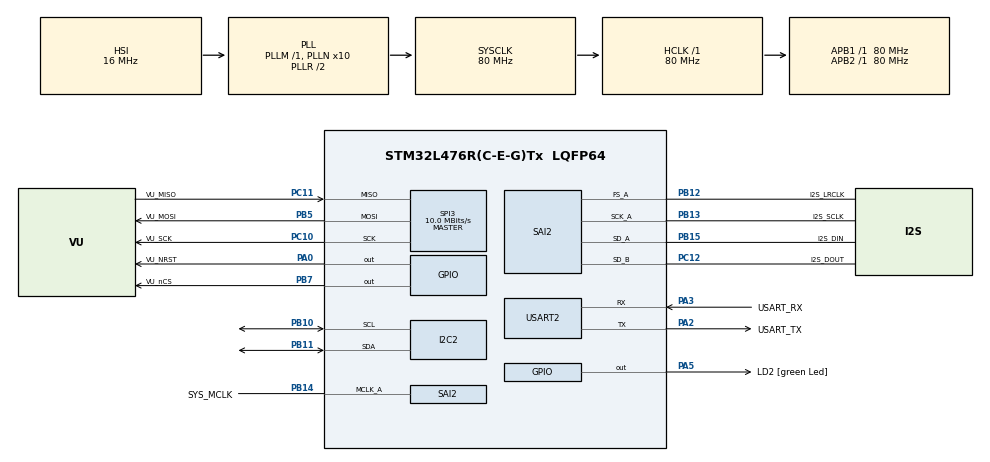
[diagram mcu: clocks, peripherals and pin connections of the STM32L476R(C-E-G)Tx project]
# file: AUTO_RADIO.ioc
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Dma.Request0=SAI2_A
Dma.Request1=SAI2_B
Dma.SAI2_A.0.Direction=DMA_MEMORY_TO_PERIPH
Dma.SAI2_A.0.Instance=DMA1_Channel6
Dma.SAI2_A.0.MemDataAlignment=DMA_MDATAALIGN_WORD
Dma.SAI2_A.0.MemInc=DMA_MINC_ENABLE
Dma.SAI2_A.0.Mode=DMA_CIRCULAR
Dma.SAI2_A.0.PeriphDataAlignment=DMA_PDATAALIGN_WORD
Dma.SAI2_A.0.PeriphInc=DMA_PINC_DISABLE
Dma.SAI2_A.0.Priority=DMA_PRIORITY_LOW
Dma.SAI2_B.1.Direction=DMA_PERIPH_TO_MEMORY
Dma.SAI2_B.1.Instance=DMA1_Channel7
Dma.SAI2_B.1.MemDataAlignment=DMA_MDATAALIGN_WORD
Dma.SAI2_B.1.MemInc=DMA_MINC_ENABLE
Dma.SAI2_B.1.Mode=DMA_CIRCULAR
Dma.SAI2_B.1.PeriphDataAlignment=DMA_PDATAALIGN_WORD
Dma.SAI2_B.1.PeriphInc=DMA_PINC_DISABLE
Dma.SAI2_B.1.Priority=DMA_PRIORITY_LOW
FREERTOS.Tasks01=defaultTask,0,128,StartDefaultTask,Default,NULL,Dynamic,NULL,NULL
FREERTOS.configUSE_NEWLIB_REENTRANT=1
I2C2.Timing=0x10D19CE4
Mcu.Family=STM32L4
Mcu.Name=STM32L476R(C-E-G)Tx
Mcu.Package=LQFP64
NVIC.DMA1_Channel6_IRQn=true\:5\:0\:false\:false\:true\:true\:false\:true\:true
NVIC.DMA1_Channel7_IRQn=true\:5\:0\:false\:false\:true\:true\:false\:true\:true
NVIC.PriorityGroup=NVIC_PRIORITYGROUP_4
NVIC.SAI2_IRQn=true\:5\:0\:false\:false\:true\:true\:true\:true\:true
NVIC.TIM6_DAC_IRQn=true\:0\:0\:true\:false\:true\:false\:false\:true\:true
NVIC.TimeBase=TIM6_DAC_IRQn
NVIC.TimeBaseIP=TIM6
NVIC.USART2_IRQn=true\:5\:0\:false\:false\:true\:true\:true\:true\:true
PA0.GPIO_Label=VU_NRST
PA0.Signal=GPIO_Output
PA13\ (JTMS-SWDIO).GPIO_Label=TMS
PA13\ (JTMS-SWDIO).Mode=Trace_Asynchronous_SW
PA13\ (JTMS-SWDIO).Signal=SYS_JTMS-SWDIO
PA14\ (JTCK-SWCLK).GPIO_Label=TCK
PA14\ (JTCK-SWCLK).Mode=Trace_Asynchronous_SW
PA14\ (JTCK-SWCLK).Signal=SYS_JTCK-SWCLK
PA2.GPIO_Label=USART_TX
PA2.GPIO_Mode=GPIO_MODE_AF_PP
PA2.GPIO_PuPd=GPIO_NOPULL
PA2.GPIO_Speed=GPIO_SPEED_FREQ_VERY_HIGH
PA2.Mode=Asynchronous
PA2.Signal=USART2_TX
PA3.GPIO_Label=USART_RX
PA3.GPIO_Mode=GPIO_MODE_AF_PP
PA3.GPIO_PuPd=GPIO_NOPULL
PA3.GPIO_Speed=GPIO_SPEED_FREQ_VERY_HIGH
PA3.Mode=Asynchronous
PA3.Signal=USART2_RX
PA5.GPIO_Label=LD2 [green Led]
PA5.GPIO_ModeDefaultOutputPP=GPIO_MODE_OUTPUT_PP
PA5.GPIO_PuPd=GPIO_NOPULL
PA5.GPIO_Speed=GPIO_SPEED_FREQ_LOW
PA5.Signal=GPIO_Output
PB10.Mode=I2C
PB10.Signal=I2C2_SCL
PB11.Mode=I2C
PB11.Signal=I2C2_SDA
PB12.GPIO_Label=I2S_LRCLK
PB12.Mode=SAI_A_MasterWithClock
PB12.Signal=SAI2_FS_A
PB13.GPIO_Label=I2S_SCLK
PB13.Mode=SAI_A_MasterWithClock
PB13.Signal=SAI2_SCK_A
PB14.GPIO_Label=SYS_MCLK
PB14.Mode=SAI_A_MasterWithClock
PB14.Signal=SAI2_MCLK_A
PB15.GPIO_Label=I2S_DIN
PB15.Mode=SAI_A_MasterWithClock
PB15.Signal=SAI2_SD_A
PB3\ (JTDO-TRACESWO).GPIO_Label=SWO
PB3\ (JTDO-TRACESWO).Mode=Trace_Asynchronous_SW
PB3\ (JTDO-TRACESWO).Signal=SYS_JTDO-SWO
PB5.GPIO_Label=VU_MOSI
PB5.Mode=Full_Duplex_Master
PB5.Signal=SPI3_MOSI
PB7.GPIO_Label=VU_nCS
PB7.PinState=GPIO_PIN_SET
PB7.Signal=GPIO_Output
PC10.GPIO_Label=VU_SCK
PC10.Mode=Full_Duplex_Master
PC10.Signal=SPI3_SCK
PC11.GPIO_Label=VU_MISO
PC11.Mode=Full_Duplex_Master
PC11.Signal=SPI3_MISO
PC12.GPIO_Label=I2S_DOUT
PC12.Mode=SAI_B_SyncSlave
PC12.Signal=SAI2_SD_B
PH0-OSC_IN\ (PH0).Mode=HSE-External-Oscillator
PH0-OSC_IN\ (PH0).Signal=RCC_OSC_IN
PH1-OSC_OUT\ (PH1).Mode=HSE-External-Oscillator
PH1-OSC_OUT\ (PH1).Signal=RCC_OSC_OUT
ProjectManager.HeapSize=0x200
ProjectManager.StackSize=0x400
ProjectManager.TargetToolchain=STM32CubeIDE
RCC.ADCFreq_Value=104000000
RCC.AHBFreq_Value=80000000
RCC.APB1Freq_Value=80000000
RCC.APB1TimFreq_Value=80000000
RCC.APB2Freq_Value=80000000
RCC.APB2TimFreq_Value=80000000
RCC.CortexFreq_Value=80000000
RCC.HCLKFreq_Value=80000000
RCC.HSE_VALUE=8000000
RCC.HSI_VALUE=16000000
RCC.LSE_VALUE=32768
RCC.MSI_VALUE=4000000
RCC.PLLN=10
RCC.PLLSAI1N=13
RCC.PLLSAI1P=RCC_PLLP_DIV17
RCC.PLLSourceVirtual=RCC_PLLSOURCE_HSI
RCC.PREFETCH_ENABLE=1
RCC.SYSCLKFreq_VALUE=80000000
RCC.SYSCLKSource=RCC_SYSCLKSOURCE_PLLCLK
RCC.USBFreq_Value=104000000
RCC.VCOOutputFreq_Value=160000000
SAI2.AudioFrequency-SAI_A_MasterWithClock=SAI_AUDIO_FREQUENCY_48K
SAI2.ErrorAudioFreq-SAI_A_MasterWithClock=-0.42 %
SAI2.InitProtocol-SAI_A_MasterWithClock=Enable
SAI2.InitProtocol-SAI_B_SyncSlave=Enable
SAI2.Instance-SAI_A_MasterWithClock=SAI$Index_Block_A
SAI2.Instance-SAI_B_SyncSlave=SAI$Index_Block_B
SAI2.MClockEnable-SAI_A_MasterWithClock=SAI_MASTERCLOCK_ENABLE
SAI2.RealAudioFreq-SAI_A_MasterWithClock=47.794 KHz
SAI2.VirtualMode-SAI_A_MasterWithClock=VM_MASTER
SAI2.VirtualMode-SAI_B_SyncSlave=VM_SLAVE
SAI2.VirtualProtocol-SAI_A_BASIC=VM_BASIC_PROTOCOL
SAI2.VirtualProtocol-SAI_B_BASIC=VM_BASIC_PROTOCOL
SPI3.BaudRatePrescaler=SPI_BAUDRATEPRESCALER_8
SPI3.CLKPolarity=SPI_POLARITY_HIGH
SPI3.CalculateBaudRate=10.0 MBits/s
SPI3.DataSize=SPI_DATASIZE_8BIT
SPI3.Direction=SPI_DIRECTION_2LINES
SPI3.Mode=SPI_MODE_MASTER
SPI3.VirtualType=VM_MASTER
USART2.VirtualMode-Asynchronous=VM_ASYNC
VP_FREERTOS_VS_CMSIS_V1.Mode=CMSIS_V1
VP_SAI2_VP_$IpInstance_SAIA_SAI_BASIC.Mode=SAI_A_BASIC
VP_SAI2_VP_$IpInstance_SAIB_SAI_BASIC.Mode=SAI_B_BASIC
VP_SYS_VS_tim6.Mode=TIM6
board=NUCLEO-L476RG

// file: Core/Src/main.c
/* USER CODE BEGIN Header */
/**
 ******************************************************************************
 * @file           : main.c
 * @brief          : Main program body
 ******************************************************************************
 * @attention
 *
 * Copyright (c) 2024 STMicroelectronics.
 * All rights reserved.
 *
 * This software is licensed under terms that can be found in the LICENSE file
 * in the root directory of this software component.
 * If no LICENSE file comes with this software, it is provided AS-IS.
 *
 ******************************************************************************
 */
/* USER CODE END Header */
#include "main.h"
#include "cmsis_os.h"
#include "dma.h"
#include "i2c.h"
#include "sai.h"
#include "spi.h"
#include "usart.h"
#include "gpio.h"

/* USER CODE BEGIN Includes */
#include <stdio.h>
#include "shell.h"
#include "drv_uart1.h"
#include "IOExpander.h"
#include "sgtl5000.h"

/* USER CODE END Includes */

/* USER CODE BEGIN PD */
#define LONG_TIME 0xffff
#define SHELL_TASK_SIZE 256
#define SHELL_PRIORITY 2
#define CHENILLART_TASK_SIZE 128
#define CHENILLART_PRIORITY 1
/* USER CODE END PD */

/* USER CODE BEGIN PV */
h_shell_t h_shell;
uint16_t idvalue;
uint8_t rCodec[50];
uint8_t tCodec[50] = {0xff};
const uint16_t sample_rate = 48000;
const float period_ms = 1.0;
uint16_t period_samples = (uint16_t)(sample_rate * (period_ms / 1000.0));
/* USER CODE END PV */

void SystemClock_Config(void);
void PeriphCommonClock_Config(void);
void MX_FREERTOS_Init(void);

/* USER CODE BEGIN PFP */
int __io_putchar(int chr);
int fonction(h_shell_t *h_shell, int argc, char **argv);
int led(h_shell_t *h_shell, int argc, char **argv) ;
void vTaskShell(void *param);
void vTaskChenillard(void *pvParameters);
void Triangle(uint8_t *buffer, uint16_t sample_rate, float period_ms);
	/* USER CODE END PFP */

	/* Private user code ---------------------------------------------------------*/

	/**
	 * @brief  The application entry point.
	 * @retval int
	 */
	int
	main(void)
{

	/* MCU Configuration--------------------------------------------------------*/

	/* Reset of all peripherals, Initializes the Flash interface and the Systick. */
	HAL_Init();

	/* Configure the system clock */
	SystemClock_Config();

	/* Configure the peripherals common clocks */
	PeriphCommonClock_Config();

	/* Initialize all configured peripherals */
	MX_GPIO_Init();
	MX_DMA_Init();
	MX_USART2_UART_Init();
	MX_I2C2_Init();
	MX_SAI2_Init();
	MX_SPI3_Init();
	/* USER CODE BEGIN 2 */
	printf("============== AUTO RADIO ============\n");
	h_shell.drv.receive = drv_uart1_receive;
	h_shell.drv.transmit = drv_uart1_transmit;
	IOExpanderInit();
	__HAL_SAI_ENABLE(&hsai_BlockA2);
	// for(int i = 0 ; i>=50 ; i++)
	//{
	// tCodec[i]=0xA0;
	// } ;
	sgtl5000_Init();
	/* TASK CREATION */
	xTaskCreate(vTaskShell, "TaskShell", SHELL_TASK_SIZE, NULL, 2, NULL);
	xTaskCreate(vTaskChenillard, "ChenillardTask", configMINIMAL_STACK_SIZE, NULL, 1, NULL);

	/* USER CODE END 2 */

	/* Call init function for freertos objects (in cmsis_os2.c) */
	MX_FREERTOS_Init();
	Triangle(tCodec, 50, period_samples);
	HAL_SAI_Receive_DMA(&hsai_BlockB2, rCodec, 50);
	HAL_SAI_Transmit_DMA(&hsai_BlockA2, tCodec, 50);

	/* Start scheduler */
	osKernelStart();

	/* We should never get here as control is now taken by the scheduler */

	/* Infinite loop */
	while (1)
	{

	}
}

void SystemClock_Config(void)
{
	RCC_OscInitTypeDef RCC_OscInitStruct = {0};
	RCC_ClkInitTypeDef RCC_ClkInitStruct = {0};

	/** Configure the main internal regulator output voltage
	 */
	if (HAL_PWREx_ControlVoltageScaling(PWR_REGULATOR_VOLTAGE_SCALE1) != HAL_OK)
	{
		Error_Handler();
	}

	/** Initializes the RCC Oscillators according to the specified parameters
	 * in the RCC_OscInitTypeDef structure.
	 */
	RCC_OscInitStruct.OscillatorType = RCC_OSCILLATORTYPE_HSI;
	RCC_OscInitStruct.HSIState = RCC_HSI_ON;
	RCC_OscInitStruct.HSICalibrationValue = RCC_HSICALIBRATION_DEFAULT;
	RCC_OscInitStruct.PLL.PLLState = RCC_PLL_ON;
	RCC_OscInitStruct.PLL.PLLSource = RCC_PLLSOURCE_HSI;
	RCC_OscInitStruct.PLL.PLLM = 1;
	RCC_OscInitStruct.PLL.PLLN = 10;
	RCC_OscInitStruct.PLL.PLLP = RCC_PLLP_DIV7;
	RCC_OscInitStruct.PLL.PLLQ = RCC_PLLQ_DIV2;
	RCC_OscInitStruct.PLL.PLLR = RCC_PLLR_DIV2;
	if (HAL_RCC_OscConfig(&RCC_OscInitStruct) != HAL_OK)
	{
		Error_Handler();
	}

	/** Initializes the CPU, AHB and APB buses clocks
	 */
	RCC_ClkInitStruct.ClockType = RCC_CLOCKTYPE_HCLK | RCC_CLOCKTYPE_SYSCLK | RCC_CLOCKTYPE_PCLK1 | RCC_CLOCKTYPE_PCLK2;
	RCC_ClkInitStruct.SYSCLKSource = RCC_SYSCLKSOURCE_PLLCLK;
	RCC_ClkInitStruct.AHBCLKDivider = RCC_SYSCLK_DIV1;
	RCC_ClkInitStruct.APB1CLKDivider = RCC_HCLK_DIV1;
	RCC_ClkInitStruct.APB2CLKDivider = RCC_HCLK_DIV1;

	if (HAL_RCC_ClockConfig(&RCC_ClkInitStruct, FLASH_LATENCY_4) != HAL_OK)
	{
		Error_Handler();
	}
}

void PeriphCommonClock_Config(void)
{
	RCC_PeriphCLKInitTypeDef PeriphClkInit = {0};

	/** Initializes the peripherals clock
	 */
	PeriphClkInit.PeriphClockSelection = RCC_PERIPHCLK_SAI2;
	PeriphClkInit.Sai2ClockSelection = RCC_SAI2CLKSOURCE_PLLSAI1;
	PeriphClkInit.PLLSAI1.PLLSAI1Source = RCC_PLLSOURCE_HSI;
	PeriphClkInit.PLLSAI1.PLLSAI1M = 1;
	PeriphClkInit.PLLSAI1.PLLSAI1N = 13;
	PeriphClkInit.PLLSAI1.PLLSAI1P = RCC_PLLP_DIV17;
	PeriphClkInit.PLLSAI1.PLLSAI1Q = RCC_PLLQ_DIV2;
	PeriphClkInit.PLLSAI1.PLLSAI1R = RCC_PLLR_DIV2;
	PeriphClkInit.PLLSAI1.PLLSAI1ClockOut = RCC_PLLSAI1_SAI1CLK;
	if (HAL_RCCEx_PeriphCLKConfig(&PeriphClkInit) != HAL_OK)
	{
		Error_Handler();
	}
}

/* USER CODE BEGIN 4 */
int __io_putchar(int chr)
{
	HAL_UART_Transmit(&huart2, (uint8_t *)&chr, 1, HAL_MAX_DELAY);
	return chr;
}

int fonction(h_shell_t *h_shell, int argc, char **argv)
{
	int size = snprintf(h_shell->print_buffer, BUFFER_SIZE, "Je suis une fonction bidon\r\n");
	h_shell->drv.transmit(h_shell->print_buffer, size);

	return 0;
}

void vTaskShell(void *param)
{
	shell_init(&h_shell);
	shell_add(&h_shell, 'f', fonction, "Une fonction inutile");
	shell_add(&h_shell,l,led,"Une fonction pour allumer une led");
	shell_run(&h_shell);
}

void vTaskChenillard(void *pvParameters)
{
	const uint32_t delayMs = 200;
	const uint8_t maxPins = 8;

	while (1)
	{
		IOExpanderWrite(0x14, 0xff);
		IOExpanderWrite(0x13, 0xff);
		for (uint8_t pin = 0; pin < maxPins; pin++)
		{
			IOExpanderGPIO_WritePin(PortA, pin, 0);
			vTaskDelay(pdMS_TO_TICKS(delayMs));
			IOExpanderGPIO_WritePin(PortA, pin, 1);
		}

		for (int8_t pin = maxPins; pin >= 0; pin--)
		{
			IOExpanderGPIO_WritePin(PortB, pin, 0);
			vTaskDelay(pdMS_TO_TICKS(delayMs));
			IOExpanderGPIO_WritePin(PortB, pin, 1);
		}
	}
}

int led(h_shell_t *h_shell, int argc, char **argv)
{
	if (argc == 3)
	{
		uint8_t pin = (uint8_t)atoi(argv[1]);
		char port = argv[2][0];
		if (pin <= Pin7 && (port == 'A' || port == 'B'))
		{
			if (port == 'A')
			{
				IOExpanderGPIO_WritePin(PortA, pin, 1);
			}
			else
			{
				IOExpanderGPIO_WritePin(PortA, pin, 1);
			}
		}
	}

	return 0;
}

void Triangle(uint8_t *buffer, uint16_t sample_rate, float period_ms)
{
	uint16_t period_samples = (uint16_t)(sample_rate * (period_ms / 1000.0));
	uint16_t half_period = period_samples / 2;

	for (uint16_t i = 0; i < period_samples; i++)
	{
		if (i < half_period)
		{
			buffer[i] = (uint8_t)(255.0 * ((float)i / half_period)); // Montée
		}
		else
		{
			buffer[i] = (uint8_t)(255.0 * (1.0 - ((float)(i - half_period) / half_period))); // Descente
		}
	}
}

/* USER CODE END 4 */

void HAL_TIM_PeriodElapsedCallback(TIM_HandleTypeDef *htim)
{
	if (htim->Instance == TIM6)
	{
		HAL_IncTick();
	}
}

void Error_Handler(void)
{
	__disable_irq();
	while (1)
	{
	}
}
